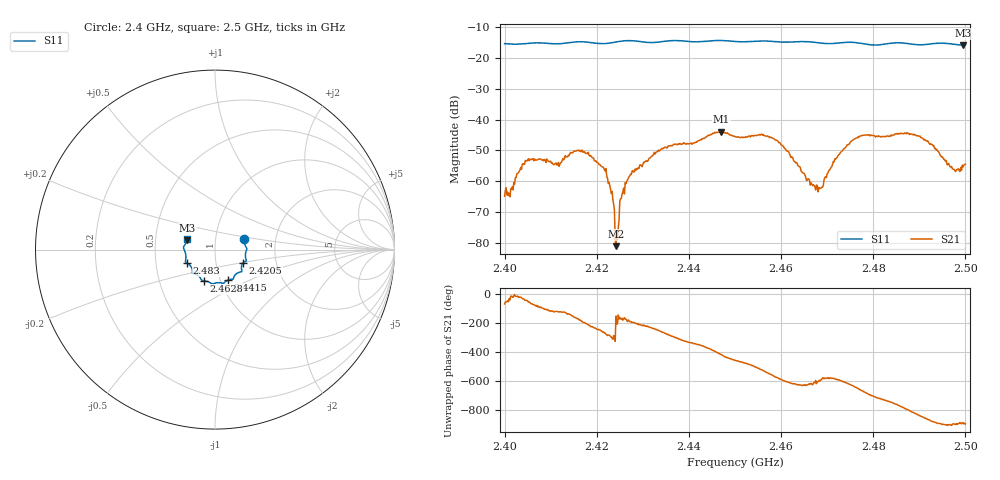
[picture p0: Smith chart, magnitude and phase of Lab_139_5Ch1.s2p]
# Hz S RI R 50
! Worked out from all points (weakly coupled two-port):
!   601 points, 2.4 GHz to 2.5 GHz, reference 50 ohm
!   highest |S21| = -43.94 dB at 2.447 GHz (marker M1); lowest = -81.1 dB at 2.4242 GHz (marker M2)
!   lowest |S11| = -15.7 dB at 2.4995 GHz (marker M3), VSWR 1.39, Z = 36.4 + j3.84 ohm
!   |S11| at or under -10 dB: start of sweep to end of sweep
!   S12 and S22 are empty: the file has one direction only
!   S11 on the Smith chart (normalised r, x): 2.4 GHz: 1.38, +0.16; 2.4205 GHz: 1.35, -0.21; 2.4415 GHz: 1.09, -0.38; 2.4628 GHz: 0.83, -0.30; 2.483 GHz: 0.73, -0.11; 2.5 GHz: 0.73, +0.09
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2.4e9  0.163 0.0563  0.000174 -0.00054  0 0  0 0
2.405e9  0.1736 0.0131  0.00135 -0.00176  0 0  0 0
2.416667e9  0.1742 -0.0626  -0.00306 0.000407  0 0  0 0
2.4205e9  0.1553 -0.0762  -0.00067 0.00174  0 0  0 0
2.422833e9  0.1472 -0.0969  0.000299 0.000785  0 0  0 0
2.424167e9  0.1476 -0.1089  -7.99e-05 -3.64e-05  0 0  0 0
2.426667e9  0.1503 -0.1212  -0.00102 0.000246  0 0  0 0
2.433333e9  0.1078 -0.1472  -0.000941 0.00305  0 0  0 0
2.4415e9  0.0733 -0.1692  0.00423 0.000897  0 0  0 0
2.447e9  0.0451 -0.1887  0.00304 -0.00558  0 0  0 0
2.45e9  0.0296 -0.1848  -0.00102 -0.00526  0 0  0 0
2.457833e9  -0.0238 -0.1867  -0.00489 0.00164  0 0  0 0
2.462833e9  -0.0622 -0.1737  -0.000269 0.00209  0 0  0 0
2.466667e9  -0.0765 -0.1666  -8.17e-05 0.000895  0 0  0 0
2.4685e9  -0.0832 -0.1556  -0.000354 0.000681  0 0  0 0
2.475833e9  -0.1261 -0.1293  0.00078 0.00477  0 0  0 0
2.483e9  -0.1542 -0.0757  0.00514 -0.00183  0 0  0 0
2.483333e9  -0.1564 -0.0745  0.00489 -0.00213  0 0  0 0
2.489667e9  -0.1622 -0.0339  -0.00237 -0.00498  0 0  0 0
2.4975e9  -0.1656 0.0294  -0.00156 -5.05e-05  0 0  0 0
2.4995e9  -0.155 0.0513  -0.00168 -0.000294  0 0  0 0
2.5e9  -0.1534 0.0579  -0.0019 -3.72e-05  0 0  0 0
